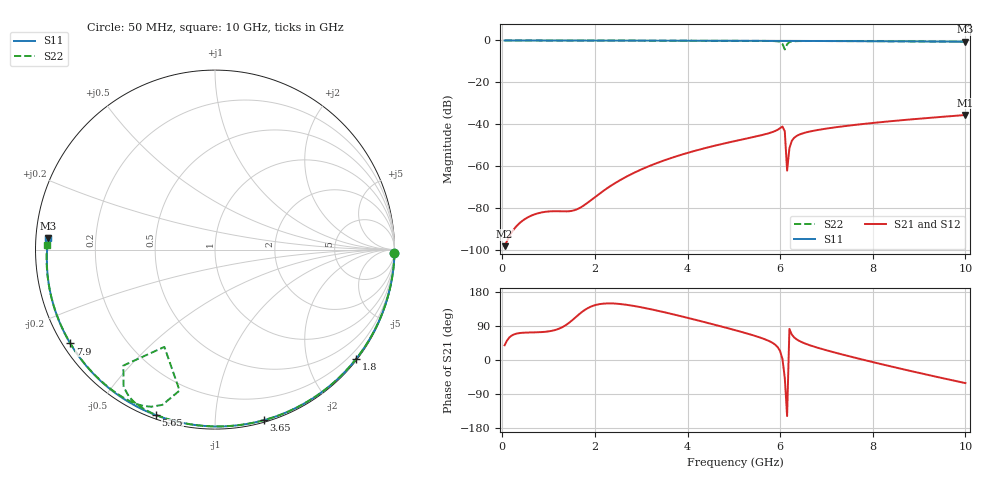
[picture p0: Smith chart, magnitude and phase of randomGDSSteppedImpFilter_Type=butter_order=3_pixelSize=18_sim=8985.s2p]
! freq	dB(S11)	phase(S11)	dB(S12)	phase(S12)
!  dB(S21)	phase(S21)	dB(S22)	phase(S22)
!S-par simulation data
#  GHz  S  DB  R 50
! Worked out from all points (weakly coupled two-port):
!   200 points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, 50 MHz to 10 GHz, reference 50 ohm
!   highest |S21| = -35.52 dB at 10 GHz (marker M1); lowest = -98.0 dB at 50 MHz (marker M2)
!   lowest |S11| = -0.6 dB at 10 GHz (marker M3), VSWR 28.03, Z = 1.79 + j1.72 ohm
!   |S11| at or under -10 dB: nowhere
!   |S22| runs from -4.3 to 0.0 dB; largest |S21 - S12| = 0
!   S11 on the Smith chart (normalised r, x): 50 MHz: open; 1.8 GHz: 0.03, -2.93; 3.65 GHz: 0.02, -1.33; 5.65 GHz: 0.02, -0.71; 7.9 GHz: 0.02, -0.30; 10 GHz: 0.04, +0.03
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0.05  -0.00 -1.1  -98.00 38.9  -98.00 38.9  -0.00 -1.1
0.8  -0.02 -17.0  -82.17 73.3  -82.17 73.3  -0.02 -16.9
1.65  -0.04 -34.7  -80.05 119.8  -80.05 119.8  -0.04 -34.4
1.75  -0.05 -36.7  -78.76 129.4  -78.76 129.4  -0.05 -36.4
1.8  -0.05 -37.7  -78.00 133.5  -78.00 133.5  -0.05 -37.4
2.55  -0.07 -52.8  -66.47 147.7  -66.47 147.7  -0.07 -52.4
3.4  -0.09 -69.2  -57.90 128.8  -57.90 128.8  -0.09 -68.8
3.65  -0.10 -73.9  -55.97 121.7  -55.97 121.7  -0.10 -73.6
5.05  -0.15 -99.2  -47.79 78.0  -47.79 78.0  -0.15 -99.3
5.65  -0.18 -109.6  -44.83 55.6  -44.83 55.6  -0.21 -111.0
5.95  -0.20 -114.7  -42.49 33.4  -42.49 33.4  -0.45 -120.3
6  -0.20 -115.5  -41.76 23.3  -41.76 23.3  -0.73 -123.6
6.05  -0.20 -116.4  -40.99 2.6  -40.99 2.6  -1.69 -128.3
6.1  -0.21 -117.2  -43.26 -47.2  -43.26 -47.2  -4.28 -117.5
6.15  -0.21 -118.0  -62.02 -147.9  -62.02 -147.9  -1.83 -104.1
6.2  -0.21 -118.9  -51.33 82.1  -51.33 82.1  -0.79 -108.7
6.25  -0.22 -119.7  -47.89 67.4  -47.89 67.4  -0.49 -112.1
6.4  -0.22 -122.2  -44.98 51.2  -44.98 51.2  -0.30 -117.8
6.7  -0.25 -127.2  -43.11 36.5  -43.11 36.5  -0.26 -124.5
7.9  -0.34 -147.0  -39.53 -2.6  -39.53 -2.6  -0.34 -145.4
8.35  -0.39 -154.6  -38.55 -15.7  -38.55 -15.7  -0.38 -153.0
10  -0.62 176.1  -35.52 -61.0  -35.52 -61.0  -0.57 178.3
